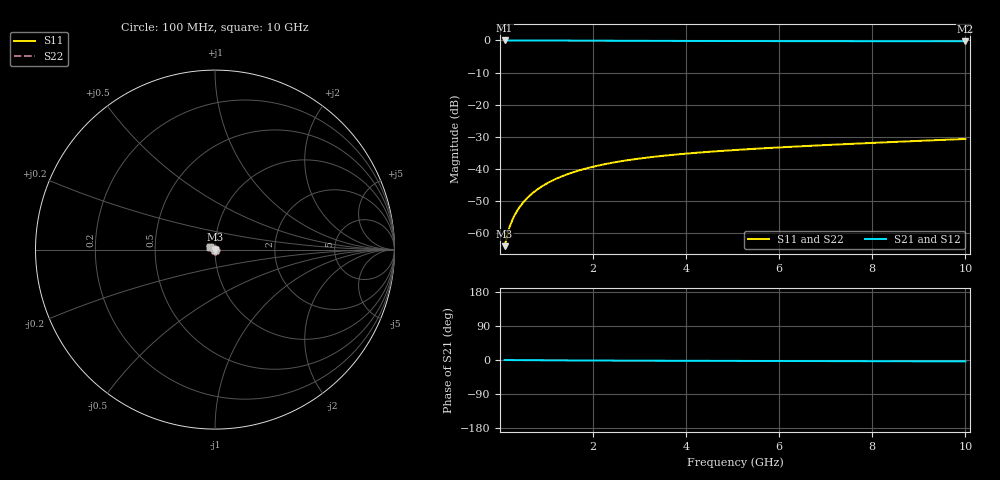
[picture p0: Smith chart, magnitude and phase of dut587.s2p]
! Touchstone file exported from HFSS 2024.1.0
!  File:  C:/UserFiles/LocalFiles/RDL_TSV_Batchsim/temp_TSV1_587_1779709835.aedt
!  Generated:  07:56:52 PM May 25, 2026
!  Design:  TSV1
!  Project:  temp_TSV1_587_1779709835
!  Setup:  Setup1
!  Solution:  Sweep
! Variables:
!  dtsv = 8.29um
!  hbump = 3um
!  htsv = 50.57um
!  lrdl = 252.1521522um
!  p = 40
!  p1 = 56.61um
!  t = 500um
!  trdl = 3um
!  wrdl = 24.89489489um
# GHz S MA R 50.000000
! Terminal data exported
! Port[1] = TSV22_T1
! Port[2] = TSV22_T2
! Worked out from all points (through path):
!   100 points, 100 MHz to 10 GHz, reference 50 ohm
!   highest |S21| = 0.00 dB at 100 MHz (marker M1); lowest = -0.2 dB at 10 GHz (marker M2)
!   lowest |S11| = -64.0 dB at 100 MHz (marker M3), VSWR 1.00, Z = 50 - j0.0618 ohm
!   |S11| at or under -10 dB: start of sweep to end of sweep
!   |S22| runs from -64.0 to -30.6 dB; largest |S21 - S12| = 0
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0.1  0.0006332 -77.5  0.9998 -0.1  0.9998 -0.1  0.0006332 -77.5
! Gamma 0 0 0 0
! Port Impedance 50 0 50 0
0.2  0.001233 -87.2  0.9997 -0.2  0.9997 -0.2  0.001233 -87.2
0.3  0.001838 -92.1  0.9996 -0.2  0.9996 -0.2  0.001838 -92.1
0.4  0.002442 -95.7  0.9994 -0.3  0.9994 -0.3  0.002442 -95.7
0.5  0.003042 -98.8  0.9992 -0.4  0.9992 -0.4  0.003042 -98.8
0.6  0.003636 -101.7  0.9989 -0.5  0.9989 -0.5  0.003636 -101.7
0.7  0.004223 -104.3  0.9985 -0.6  0.9985 -0.6  0.004223 -104.3
0.8  0.004803 -106.9  0.9982 -0.6  0.9982 -0.6  0.004803 -106.9
0.9  0.005374 -109.3  0.9978 -0.7  0.9978 -0.7  0.005374 -109.3
1.1  0.006486 -114.0  0.9969 -0.9  0.9969 -0.9  0.006486 -114.0
1.4  0.008065 -120.7  0.9954 -1.0  0.9954 -1.0  0.008065 -120.7
1.6  0.009055 -124.8  0.9943 -1.2  0.9943 -1.2  0.009055 -124.8
1.8  0.009992 -128.9  0.9932 -1.3  0.9932 -1.3  0.009992 -128.9
2.1  0.0113 -134.6  0.9915 -1.4  0.9915 -1.4  0.0113 -134.6
2.5  0.01287 -141.7  0.9893 -1.6  0.9893 -1.6  0.01287 -141.7
2.9  0.01426 -148.2  0.9872 -1.8  0.9872 -1.8  0.01426 -148.2
3.4  0.01579 -155.7  0.9849 -1.9  0.9849 -1.9  0.01579 -155.7
4.2  0.01788 -166.1  0.9818 -2.2  0.9818 -2.2  0.01788 -166.1
5.1  0.01989 -176.0  0.9791 -2.4  0.9791 -2.4  0.01989 -176.0
6.7  0.02306 169.8  0.9758 -2.8  0.9758 -2.8  0.02306 169.8
8.4  0.02629 158.2  0.9735 -3.2  0.9735 -3.2  0.02629 158.2
10  0.02941 149.5  0.972 -3.7  0.972 -3.7  0.02941 149.5
